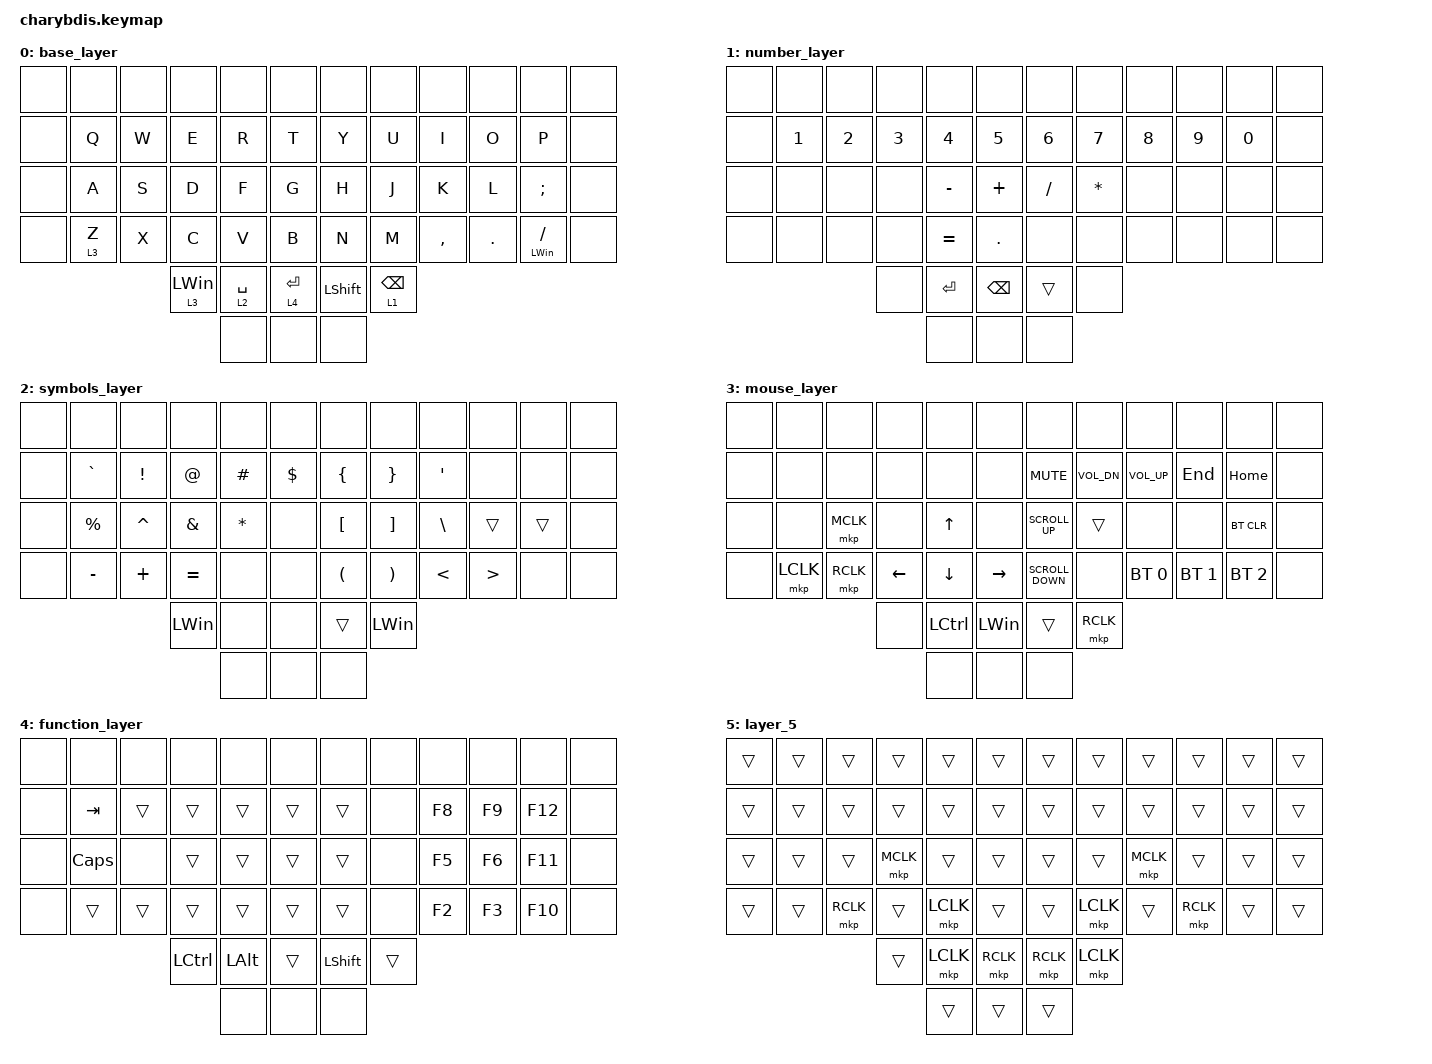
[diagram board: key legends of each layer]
#include <dt-bindings/zmk/mouse.h>
#include <behaviors.dtsi>
#include <dt-bindings/zmk/bt.h>
#include <dt-bindings/zmk/keys.h>

&lt {
    tapping-term-ms = <200>;
    flavor = "balanced";
    quick-tap-ms = <150>;
};

/ {
    combos {
        compatible = "zmk,combos";

        esc_combo {
            bindings = <&kp ESC>;
            key-positions = <13 14>;
            layers = <0>;
        };

        lalt_key_combo {
            bindings = <&kp LALT>;
            key-positions = <44 45>;
            layers = <0>;
        };

        win_key_combo {
            bindings = <&kp LGUI>;
            key-positions = <50 51>;
            layers = <0>;
        };

        tab_combo {
            bindings = <&kp TAB>;
            key-positions = <25 26>;
            layers = <0>;
        };
    };

    keymap {
        compatible = "zmk,keymap";

        base_layer {
            bindings = <
&none  &none    &none  &none       &none        &none          &none           &none            &none      &none    &none               &none
&none  &kp Q    &kp W  &kp E       &kp R        &kp T          &kp Y           &kp U            &kp I      &kp O    &kp P               &none
&none  &kp A    &kp S  &kp D       &kp F        &kp G          &kp H           &kp J            &kp K      &kp L    &kp SEMI            &none
&none  &lt 3 Z  &kp X  &kp C       &kp V        &kp B          &kp N           &kp M            &kp COMMA  &kp DOT  &mt LEFT_WIN SLASH  &none
                       &lt 3 LWIN  &lt 2 SPACE  &lt 4 ENTER    &kp LEFT_SHIFT  &lt 1 BACKSPACE
                                   &none        &none          &none
            >;

            trackball-bindings = <&tmv_coarse>;
        };

        number_layer {
            bindings = <
&none  &none         &none         &none         &none         &none            &none         &none     &none   &none   &none   &none
&none  &kp NUMBER_1  &kp NUMBER_2  &kp NUMBER_3  &kp NUMBER_4  &kp N5           &kp NUMBER_6  &kp N7    &kp N8  &kp N9  &kp N0  &none
&none  &none         &none         &none         &kp MINUS     &kp PLUS         &kp SLASH     &kp STAR  &none   &none   &none   &none
&none  &none         &none         &none         &kp EQUAL     &kp DOT          &none         &none     &none   &none   &none   &none
                                   &none         &kp ENTER     &kp BACKSPACE    &trans        &none
                                                 &none         &none            &none
            >;
        };

        symbols_layer {
            bindings = <
&none  &none        &none            &none          &none         &none         &none     &none         &none          &none             &none   &none
&none  &kp GRAVE    &kp EXCLAMATION  &kp AT         &kp HASH      &kp DOLLAR    &kp LBRC  &kp RBRC      &kp APOS       &none             &none   &none
&none  &kp PERCENT  &kp CARET        &kp AMPERSAND  &kp ASTERISK  &none         &kp LBKT  &kp RBKT      &kp BACKSLASH  &trans            &trans  &none
&none  &kp MINUS    &kp PLUS         &kp EQUAL      &none         &none         &kp LPAR  &kp RPAR      &kp LESS_THAN  &kp GREATER_THAN  &none   &none
                                     &kp LEFT_WIN   &none         &none         &trans    &kp LEFT_WIN
                                                    &none         &none         &none
            >;
        };

        mouse_layer {
            bindings = <
&none  &none      &none      &none     &none      &none           &none              &none         &none            &none         &none         &none
&none  &none      &none      &none     &none      &none           &kp K_MUTE         &kp C_VOL_DN  &kp C_VOLUME_UP  &kp END       &kp HOME      &none
&none  &none      &mkp MCLK  &none     &kp UP     &none           &kp K_SCROLL_UP    &trans        &none            &none         &bt BT_CLR    &none
&none  &mkp LCLK  &mkp RCLK  &kp LEFT  &kp DOWN   &kp RIGHT       &kp K_SCROLL_DOWN  &none         &bt BT_SEL 0     &bt BT_SEL 1  &bt BT_SEL 2  &none
                             &none     &kp LCTRL  &kp LEFT_WIN    &trans             &mkp RCLK
                                       &none      &none           &none
            >;
        };

        function_layer {
            bindings = <
&none  &none     &none   &none             &none         &none     &none           &none   &none   &none   &none    &none
&none  &kp TAB   &trans  &trans            &trans        &trans    &trans          &none   &kp F8  &kp F9  &kp F12  &none
&none  &kp CAPS  &none   &trans            &trans        &trans    &trans          &none   &kp F5  &kp F6  &kp F11  &none
&none  &trans    &trans  &trans            &trans        &trans    &trans          &none   &kp F2  &kp F3  &kp F10  &none
                         &kp LEFT_CONTROL  &kp LEFT_ALT  &trans    &kp LEFT_SHIFT  &trans
                                           &none         &none     &none
            >;

            trackball-bindings = <&tsl>; // Scroll layer
        };

        layer_5 {
            bindings = <
&trans  &trans  &trans     &trans     &trans     &trans       &trans     &trans     &trans     &trans     &trans  &trans
&trans  &trans  &trans     &trans     &trans     &trans       &trans     &trans     &trans     &trans     &trans  &trans
&trans  &trans  &trans     &mkp MCLK  &trans     &trans       &trans     &trans     &mkp MCLK  &trans     &trans  &trans
&trans  &trans  &mkp RCLK  &trans     &mkp LCLK  &trans       &trans     &mkp LCLK  &trans     &mkp RCLK  &trans  &trans
                           &trans     &mkp LCLK  &mkp RCLK    &mkp RCLK  &mkp LCLK
                                      &trans     &trans       &trans
            >;

            trackball-bindings = <&tmv_fine>; // Precision pointer layer
        };
    };
};
